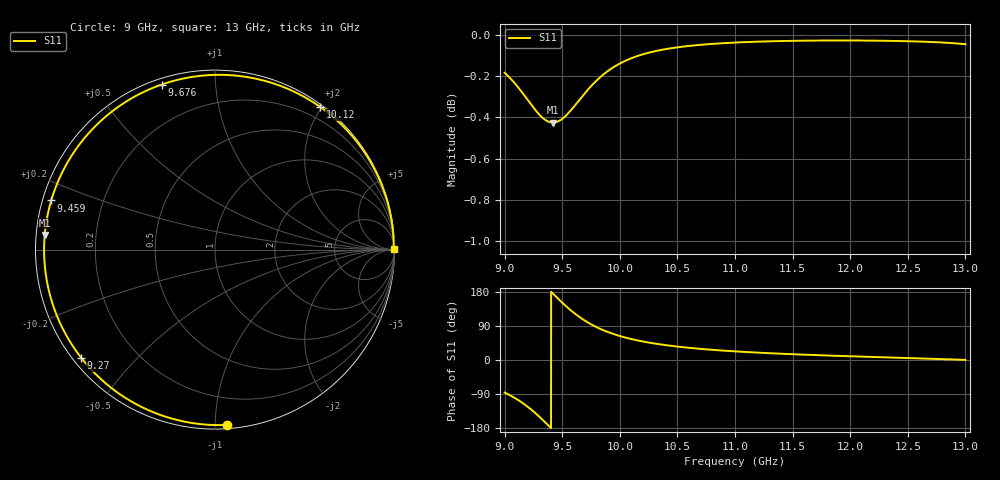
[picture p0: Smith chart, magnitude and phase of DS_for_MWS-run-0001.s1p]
! TOUCHSTONE file generated by CST DESIGN STUDIO
! Date and time: Tue Feb  4 17:03:11 2025
! Project name: C:\Work\MatlabApps\UnitCellOptimizationMatlab\CST\unitcell.cst
! Tree item: Tasks\Sweep1\SPara1\S-Parameters
! Header version: 2024
! Port assignment regex: !\s*Touchstone port\s*([0-9]+)\s*=\s*(CST MWS port|CST DES external port|CST DES block port)\s*(.+)\s* \(\"(.*)\"\)(\s*mode\s*([0-9]+))?.*
! Touchstone port assignment:
! Touchstone port 1 = CST DES external port 1 ("")
# GHz S MA R 50
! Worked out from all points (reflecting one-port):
!   4001 points, 9 GHz to 13 GHz, reference 50 ohm
!   lowest |S11| = -0.4 dB at 9.42 GHz (marker M1), VSWR 40.85, Z = 1.23 + j2.16 ohm
!   phase of S11 starts at -86 deg and turns -274 deg over the sweep
!   S11 on the Smith chart (normalised r, x): 9 GHz: 0.02, -1.07; 9.27 GHz: 0.02, -0.35; 9.459 GHz: 0.02, +0.15; 9.676 GHz: 0.03, +0.73; 10.12 GHz: 0.03, +1.98; 13 GHz: open
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9  0.9792 -86.0
9.08  0.974 -98.7
9.148  0.9687 -111.7
9.21  0.9636 -125.7
9.27  0.9587 -141.0
9.312  0.9558 -152.7
9.349  0.9538 -163.5
9.385  0.9526 -174.3
9.42  0.9522 175.1
9.459  0.9527 163.3
9.5  0.9542 151.3
9.544  0.9567 139.1
9.587  0.9596 128.0
9.63  0.9629 117.8
9.676  0.9664 107.9
9.748  0.9717 94.6
9.834  0.9769 81.6
9.914  0.9809 71.8
10  0.9842 63.3
10.123  0.9877 53.7
10.292  0.9908 43.9
10.5  0.9932 35.4
10.723  0.9947 28.8
11  0.9958 22.8
11.5  0.9968 15.3
12  0.997 9.9
12.5  0.9966 5.2
13  0.9949 0.3
